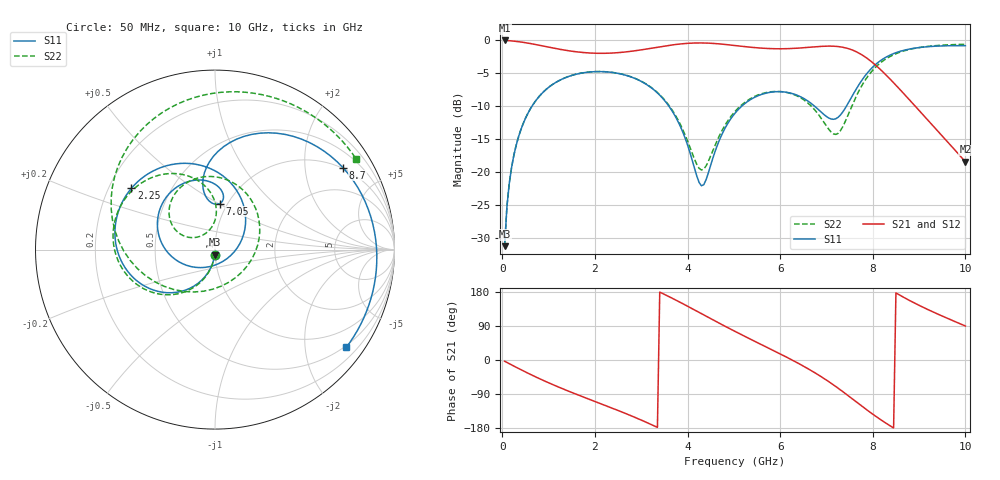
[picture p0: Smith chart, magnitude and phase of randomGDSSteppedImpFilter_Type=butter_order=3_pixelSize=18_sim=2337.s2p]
! freq	dB(S11)	phase(S11)	dB(S12)	phase(S12)
!  dB(S21)	phase(S21)	dB(S22)	phase(S22)
!S-par simulation data
#  GHz  S  DB  R 50
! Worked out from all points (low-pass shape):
!   200 points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, 50 MHz to 10 GHz, reference 50 ohm
!   highest |S21| = -0.01 dB at 50 MHz (marker M1); lowest = -18.4 dB at 10 GHz (marker M2)
!   |S21| within 3 dB of the highest: start of sweep to 7.933 GHz
!   lowest |S11| = -31.2 dB at 50 MHz (marker M3), VSWR 1.06, Z = 49.8 - j2.74 ohm
!   |S11| at or under -10 dB: start of sweep to 639.2 MHz; 3.601 GHz to 5.167 GHz (1.566 GHz wide, 35.7 % of centre); 6.749 GHz to 7.429 GHz (680 MHz wide, 9.59 % of centre)
!   |S22| runs from -31.2 to -0.6 dB; largest |S21 - S12| = 0
!   S11 on the Smith chart (normalised r, x): 50 MHz: 1.00, -0.05; 2.25 GHz: 0.29, +0.30; 7.05 GHz: 0.92, +0.51; 8.7 GHz: 0.97, +3.14; 10 GHz: 0.45, -2.95
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0.05  -31.20 -93.4  -0.01 -3.3  -0.01 -3.3  -31.20 -93.2
0.1  -25.21 -96.9  -0.02 -6.5  -0.02 -6.5  -25.20 -96.5
0.2  -19.28 -103.7  -0.08 -12.9  -0.08 -12.9  -19.28 -103.0
0.5  -11.81 -122.9  -0.35 -31.5  -0.35 -31.5  -11.81 -121.3
1.05  -6.85 -155.1  -1.09 -62.8  -1.09 -62.8  -6.85 -151.5
1.75  -4.91 168.6  -1.84 -97.6  -1.84 -97.6  -4.90 175.2
2.25  -4.77 143.7  -1.95 -121.2  -1.95 -121.2  -4.76 153.3
2.85  -5.72 111.8  -1.59 -150.6  -1.59 -150.6  -5.70 127.0
3.4  -8.30 77.3  -0.97 179.2  -0.97 179.2  -8.23 102.6
3.85  -13.12 39.6  -0.53 151.6  -0.53 151.6  -12.82 88.2
4.3  -22.04 -55.7  -0.38 122.3  -0.38 122.3  -19.65 121.7
5.05  -10.84 176.7  -0.80 73.9  -0.80 73.9  -10.58 147.2
5.95  -7.77 118.1  -1.27 19.2  -1.27 19.2  -7.73 99.8
6.7  -9.72 83.2  -1.00 -30.0  -1.00 -30.0  -10.17 40.3
7.05  -11.77 83.9  -0.86 -57.2  -0.86 -57.2  -13.47 -14.2
7.3  -11.32 96.6  -0.97 -78.7  -0.97 -78.7  -13.70 -80.1
7.6  -7.89 99.4  -1.57 -106.3  -1.57 -106.3  -9.12 -144.3
8  -4.05 78.8  -3.38 -143.0  -3.38 -143.0  -4.51 163.9
8.35  -2.30 55.3  -5.69 -171.8  -5.69 -171.8  -2.52 130.8
8.7  -1.45 32.7  -8.30 163.2  -8.30 163.2  -1.53 104.2
9.3  -0.90 -1.9  -12.94 126.9  -12.94 126.9  -0.83 67.7
10  -0.80 -36.7  -18.40 89.7  -18.40 89.7  -0.59 32.8
